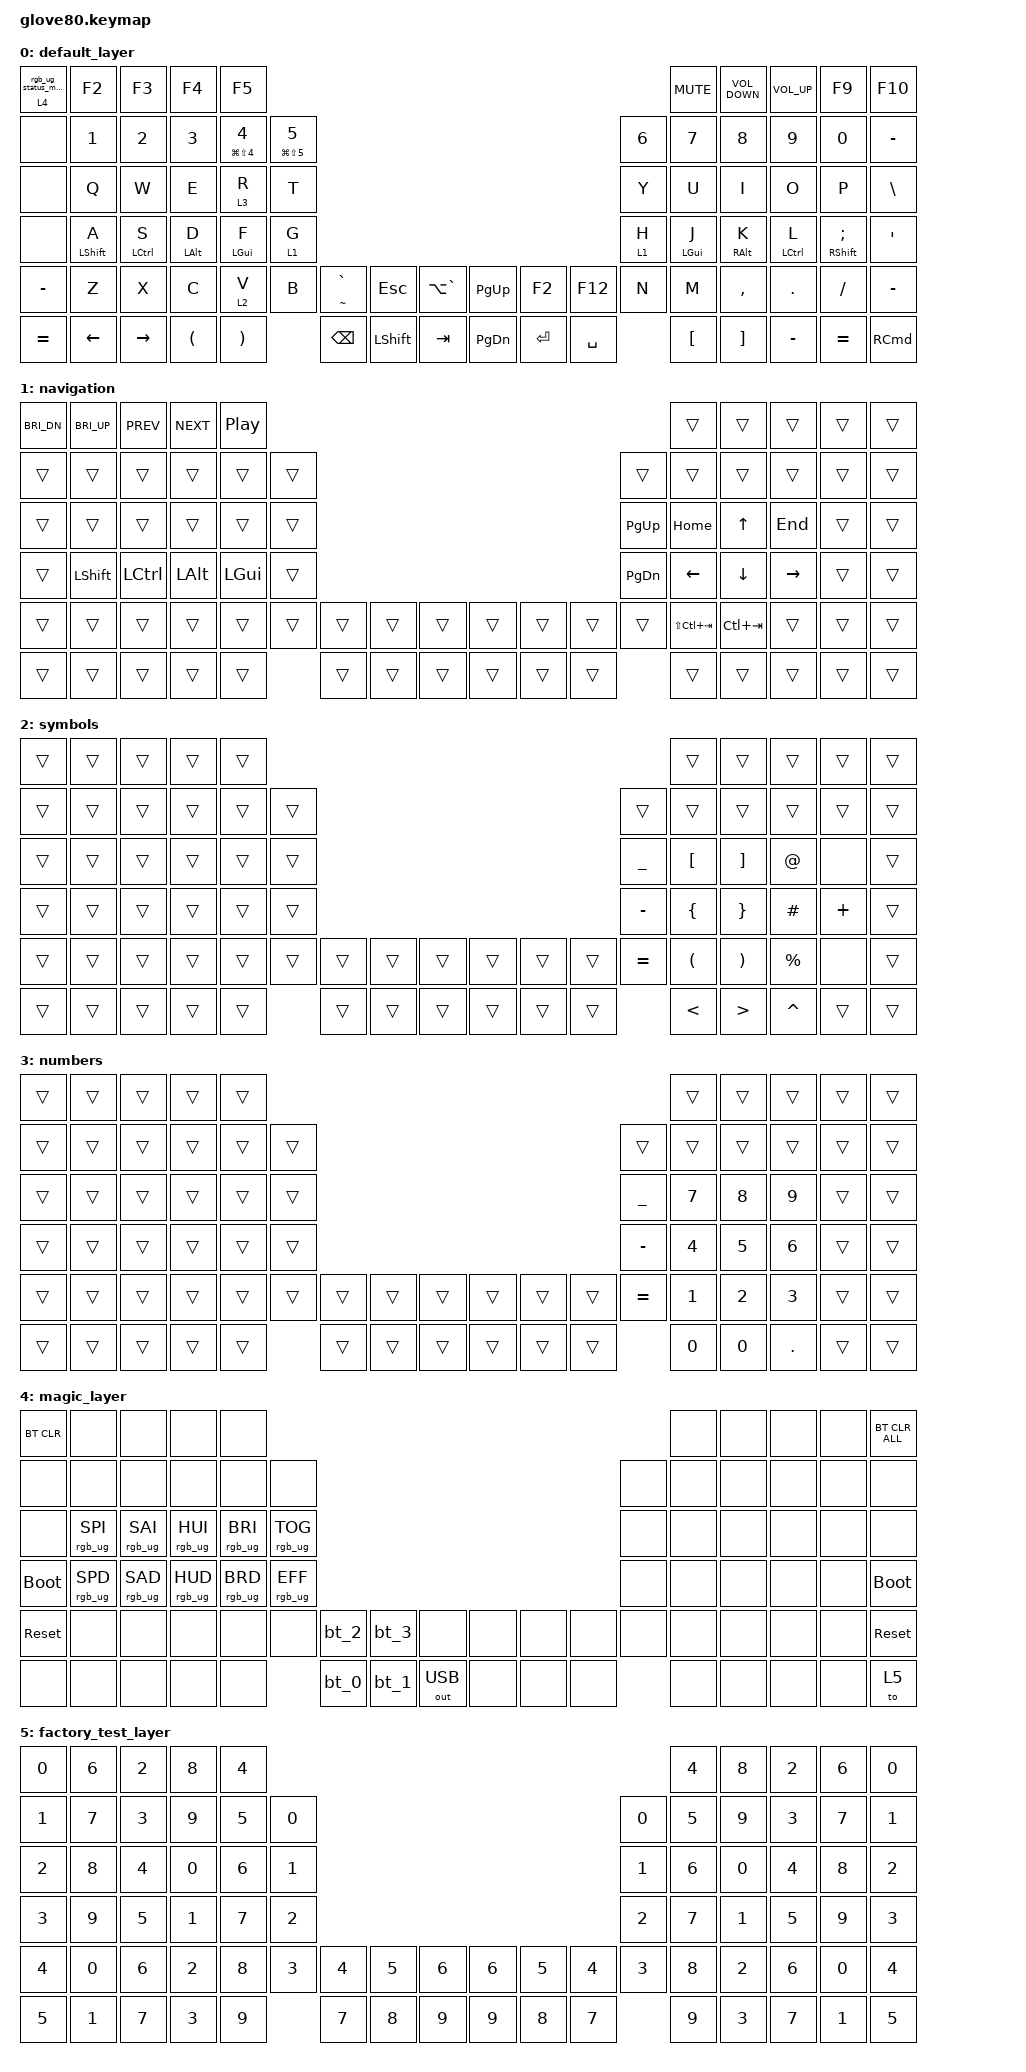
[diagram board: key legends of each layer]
/*
 * Copyright (c) 2020 The ZMK Contributors
 *
 * SPDX-License-Identifier: MIT
 */

#include <behaviors.dtsi>
#include <dt-bindings/zmk/bt.h>
#include <dt-bindings/zmk/keys.h>
#include <dt-bindings/zmk/outputs.h>
#include <dt-bindings/zmk/rgb.h>

#define HYPER LC(LS(LG(LALT)))

// layers

#define DEFAULT 0
#define LOWER 1
#define MAGIC 2
#define FACTORY_TEST 3

&mt {
    flavor = "tap-preferred";
    tapping-term-ms = <166>;
    require-prior-idle-ms = <140>;
};

/ {
    behaviors {
        // For the "layer" key, it'd nice to be able to use it as either a shift or a toggle.
        // Configure it as a tap dance, so the first tap (or hold) is a &mo and the second tap is a &to

        layer_td: tap_dance_0 {
            compatible = "zmk,behavior-tap-dance";
            label = "LAYER_TAP_DANCE";
            #binding-cells = <0>;
            tapping-term-ms = <165>;
            bindings = <&mo 1>, <&to 1>;
        };

        magic: magic_hold_tap {
            compatible = "zmk,behavior-hold-tap";
            label = "MAGIC_HOLD_TAP";
            #binding-cells = <2>;
            flavor = "tap-preferred";
            tapping-term-ms = <160>;
            bindings = <&mo>, <&rgb_ug_status_macro>;
        };
    };

    macros {
        rgb_ug_status_macro: rgb_ug_status_macro_0 {
            label = "RGB_UG_STATUS";
            compatible = "zmk,behavior-macro";
            #binding-cells = <0>;
            bindings = <&rgb_ug RGB_STATUS>;
        };

        bt_0: bt_profile_macro_0 {
            label = "BT_0";
            compatible = "zmk,behavior-macro";
            #binding-cells = <0>;
            bindings = <&out OUT_BLE &bt BT_SEL 0>;
        };

        bt_1: bt_profile_macro_1 {
            label = "BT_1";
            compatible = "zmk,behavior-macro";
            #binding-cells = <0>;
            bindings = <&out OUT_BLE &bt BT_SEL 1>;
        };

        bt_2: bt_profile_macro_2 {
            label = "BT_2";
            compatible = "zmk,behavior-macro";
            #binding-cells = <0>;
            bindings = <&out OUT_BLE &bt BT_SEL 2>;
        };

        bt_3: bt_profile_macro_3 {
            label = "BT_3";
            compatible = "zmk,behavior-macro";
            #binding-cells = <0>;
            bindings = <&out OUT_BLE &bt BT_SEL 3>;
        };
    };

    keymap {
        compatible = "zmk,keymap";

        default_layer {
            // ---------------------------------------------------------------------------------------------------------------------------------
            // |  F1   |  F2 |  F3 |  F4  |  F5  |                                                               |  F6   |  F7   |  F8  |   F9  |  F10 |
            // |  =    |  1  |  2  |  3   |  4   |  5   |                                                 |  6   |   7   |   8   |  9   |   0   |   -  |
            // |  TAB  |  Q  |  W  |  E   |  R   |  T   |                                                 |  Y   |   U   |   I   |  O   |   P   |   \  |
            // |  ESC  |  A  |  S  |  D   |  F   |  G   |                                                 |  H   |   J   |   K   |  L   |   ;   |   '  |
            // |   `   |  Z  |  X  |  C   |  V   |  B   | LSHFT | LCTRL | LOWER | | LGUI  | RCTRL | RSHFT |  N   |   M   |   ,   |  .   |   /   | PGUP |
            // | MAGIC | HOME| END | LEFT | RIGHT|      | BSPC  | DEL   | LALT  | | RALT  | RET   | SPACE |      |  UP   | DOWN  |  [   |   ]   | PGDN |

            bindings = <
&magic 4 0  &kp F2          &kp F3           &kp F4                &kp F5                                                                                                                               &kp C_MUTE        &kp C_VOLUME_DOWN  &kp C_VOLUME_UP  &kp F9           &kp F10
&none       &kp N1          &kp N2           &kp N3                &mt LG(LS(NUMBER_4)) NUMBER_4  &mt LG(LS(N5)) N5                                                                            &kp N6   &kp N7            &kp N8             &kp N9           &kp N0           &kp MINUS
&none       &kp Q           &kp W            &kp E                 &lt 3 R                        &kp T                                                                                        &kp Y    &kp U             &kp I              &kp O            &kp P            &kp BSLH
&none       &mt LSHIFT A    &mt LCTRL S      &mt LALT D            &mt LGUI F                     &lt 1 G                                                                                      &lt 1 H  &mt LEFT_GUI J    &mt RALT K         &mt LCTRL L      &mt RSHIFT SEMI  &kp SQT
&kp MINUS   &kp Z           &kp X            &kp C                 &lt 2 V                        &kp B              &mt TILDE GRAVE  &kp ESC    &kp LA(GRAVE)  &kp PG_UP  &kp F2   &kp F12    &kp N    &kp M             &kp COMMA          &kp DOT          &kp FSLH         &kp MINUS
&kp EQUAL   &kp LEFT_ARROW  &kp RIGHT_ARROW  &kp LEFT_PARENTHESIS  &kp RIGHT_PARENTHESIS                             &kp BSPC         &kp LSHFT  &kp TAB        &kp PG_DN  &kp RET  &kp SPACE           &kp LEFT_BRACKET  &kp RIGHT_BRACKET  &kp MINUS        &kp EQUAL        &kp RCMD
            >;
        };

        navigation {
            bindings = <
&kp C_BRI_DN  &kp C_BRI_UP  &kp C_PREV  &kp C_NEXT  &kp C_PP                                                                         &trans           &trans        &trans     &trans  &trans
&trans        &trans        &trans      &trans      &trans    &trans                                                  &trans         &trans           &trans        &trans     &trans  &trans
&trans        &trans        &trans      &trans      &trans    &trans                                                  &kp PAGE_UP    &kp HOME         &kp UP_ARROW  &kp END    &trans  &trans
&trans        &kp LSHIFT    &kp LCTRL   &kp LALT    &kp LGUI  &trans                                                  &kp PAGE_DOWN  &kp LEFT         &kp DOWN      &kp RIGHT  &trans  &trans
&trans        &trans        &trans      &trans      &trans    &trans  &trans  &trans  &trans  &trans  &trans  &trans  &trans         &kp LS(LC(TAB))  &kp LC(TAB)   &trans     &trans  &trans
&trans        &trans        &trans      &trans      &trans            &trans  &trans  &trans  &trans  &trans  &trans                 &trans           &trans        &trans     &trans  &trans
            >;
        };

        symbols {
            bindings = <
&trans  &trans  &trans  &trans  &trans                                                                     &trans                &trans                 &trans       &trans    &trans
&trans  &trans  &trans  &trans  &trans  &trans                                                  &trans     &trans                &trans                 &trans       &trans    &trans
&trans  &trans  &trans  &trans  &trans  &trans                                                  &kp UNDER  &kp LEFT_BRACKET      &kp RIGHT_BRACKET      &kp AT_SIGN  &none     &trans
&trans  &trans  &trans  &trans  &trans  &trans                                                  &kp MINUS  &kp LEFT_BRACE        &kp RIGHT_BRACE        &kp HASH     &kp PLUS  &trans
&trans  &trans  &trans  &trans  &trans  &trans  &trans  &trans  &trans  &trans  &trans  &trans  &kp EQUAL  &kp LEFT_PARENTHESIS  &kp RIGHT_PARENTHESIS  &kp PERCENT  &none     &trans
&trans  &trans  &trans  &trans  &trans          &trans  &trans  &trans  &trans  &trans  &trans             &kp LESS_THAN         &kp GREATER_THAN       &kp CARET    &trans    &trans
            >;
        };

        numbers {
            bindings = <
&trans  &trans  &trans  &trans  &trans                                                                     &trans  &trans  &trans      &trans  &trans
&trans  &trans  &trans  &trans  &trans  &trans                                                  &trans     &trans  &trans  &trans      &trans  &trans
&trans  &trans  &trans  &trans  &trans  &trans                                                  &kp UNDER  &kp N7  &kp N8  &kp N9      &trans  &trans
&trans  &trans  &trans  &trans  &trans  &trans                                                  &kp MINUS  &kp N4  &kp N5  &kp N6      &trans  &trans
&trans  &trans  &trans  &trans  &trans  &trans  &trans  &trans  &trans  &trans  &trans  &trans  &kp EQUAL  &kp N1  &kp N2  &kp N3      &trans  &trans
&trans  &trans  &trans  &trans  &trans          &trans  &trans  &trans  &trans  &trans  &trans             &kp N0  &kp N0  &kp PERIOD  &trans  &trans
            >;
        };

        magic_layer {
            bindings = <
&bt BT_CLR   &none            &none            &none            &none                                                                                     &none  &none  &none  &none  &bt BT_CLR_ALL
&none        &none            &none            &none            &none            &none                                                             &none  &none  &none  &none  &none  &none
&none        &rgb_ug RGB_SPI  &rgb_ug RGB_SAI  &rgb_ug RGB_HUI  &rgb_ug RGB_BRI  &rgb_ug RGB_TOG                                                   &none  &none  &none  &none  &none  &none
&bootloader  &rgb_ug RGB_SPD  &rgb_ug RGB_SAD  &rgb_ug RGB_HUD  &rgb_ug RGB_BRD  &rgb_ug RGB_EFF                                                   &none  &none  &none  &none  &none  &bootloader
&sys_reset   &none            &none            &none            &none            &none            &bt_2  &bt_3  &none         &none  &none  &none  &none  &none  &none  &none  &none  &sys_reset
&none        &none            &none            &none            &none                             &bt_0  &bt_1  &out OUT_USB  &none  &none  &none         &none  &none  &none  &none  &to 5
            >;
        };

        factory_test_layer {
            bindings = <
&kp N0  &kp N6  &kp N2  &kp N8  &kp N4                                                                  &kp N4  &kp N8  &kp N2  &kp N6  &kp N0
&kp N1  &kp N7  &kp N3  &kp N9  &kp N5  &kp N0                                                  &kp N0  &kp N5  &kp N9  &kp N3  &kp N7  &kp N1
&kp N2  &kp N8  &kp N4  &kp N0  &kp N6  &kp N1                                                  &kp N1  &kp N6  &kp N0  &kp N4  &kp N8  &kp N2
&kp N3  &kp N9  &kp N5  &kp N1  &kp N7  &kp N2                                                  &kp N2  &kp N7  &kp N1  &kp N5  &kp N9  &kp N3
&kp N4  &kp N0  &kp N6  &kp N2  &kp N8  &kp N3  &kp N4  &kp N5  &kp N6  &kp N6  &kp N5  &kp N4  &kp N3  &kp N8  &kp N2  &kp N6  &kp N0  &kp N4
&kp N5  &kp N1  &kp N7  &kp N3  &kp N9          &kp N7  &kp N8  &kp N9  &kp N9  &kp N8  &kp N7          &kp N9  &kp N3  &kp N7  &kp N1  &kp N5
            >;
        };
    };
};
